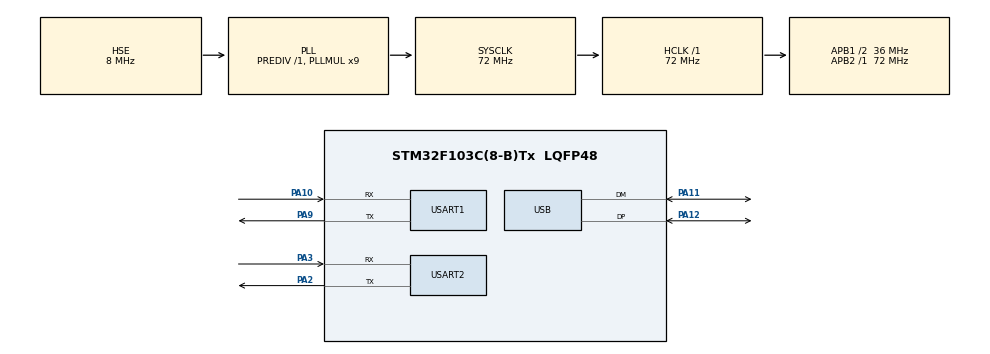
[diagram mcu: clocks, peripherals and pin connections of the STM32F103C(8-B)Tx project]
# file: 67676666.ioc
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Mcu.Family=STM32F1
Mcu.Name=STM32F103C(8-B)Tx
Mcu.Package=LQFP48
NVIC.PriorityGroup=NVIC_PRIORITYGROUP_4
NVIC.USART1_IRQn=true\:0\:0\:false\:false\:true\:true\:true\:true
NVIC.USART2_IRQn=true\:1\:0\:true\:false\:true\:true\:true\:true
NVIC.USB_LP_CAN1_RX0_IRQn=true\:0\:0\:false\:false\:true\:false\:true\:true
PA10.Mode=Asynchronous
PA10.Signal=USART1_RX
PA11.Mode=Device
PA11.Signal=USB_DM
PA12.Mode=Device
PA12.Signal=USB_DP
PA13.Mode=Serial_Wire
PA13.Signal=SYS_JTMS-SWDIO
PA14.Mode=Serial_Wire
PA14.Signal=SYS_JTCK-SWCLK
PA2.Mode=Asynchronous
PA2.Signal=USART2_TX
PA3.Mode=Asynchronous
PA3.Signal=USART2_RX
PA9.Mode=Asynchronous
PA9.Signal=USART1_TX
PC14-OSC32_IN.Mode=LSE-External-Oscillator
PC14-OSC32_IN.Signal=RCC_OSC32_IN
PC15-OSC32_OUT.Mode=LSE-External-Oscillator
PC15-OSC32_OUT.Signal=RCC_OSC32_OUT
PD0-OSC_IN.Mode=HSE-External-Oscillator
PD0-OSC_IN.Signal=RCC_OSC_IN
PD1-OSC_OUT.Mode=HSE-External-Oscillator
PD1-OSC_OUT.Signal=RCC_OSC_OUT
ProjectManager.HeapSize=0x200
ProjectManager.StackSize=0x400
ProjectManager.TargetToolchain=MDK-ARM V5.32
RCC.AHBFreq_Value=72000000
RCC.APB1CLKDivider=RCC_HCLK_DIV2
RCC.APB1Freq_Value=36000000
RCC.APB1TimFreq_Value=72000000
RCC.APB2Freq_Value=72000000
RCC.APB2TimFreq_Value=72000000
RCC.HCLKFreq_Value=72000000
RCC.PLLMUL=RCC_PLL_MUL9
RCC.SYSCLKFreq_VALUE=72000000
RCC.SYSCLKSource=RCC_SYSCLKSOURCE_PLLCLK
RCC.USBFreq_Value=48000000
RCC.USBPrescaler=RCC_USBCLKSOURCE_PLL_DIV1_5
USART1.VirtualMode=VM_ASYNC
USART2.VirtualMode=VM_ASYNC
USB_DEVICE.CLASS_NAME_FS=HID
USB_DEVICE.VirtualMode=Hid
USB_DEVICE.VirtualModeFS=Hid_FS
VP_USB_DEVICE_VS_USB_DEVICE_HID_FS.Mode=HID_FS
board=custom

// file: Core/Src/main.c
/* USER CODE BEGIN Header */
/**
  ******************************************************************************
  * @file           : main.c
  * @brief          : Main program body
  ******************************************************************************
  * @attention
  *
  * Copyright (c) 2023 STMicroelectronics.
  * All rights reserved.
  *
  * This software is licensed under terms that can be found in the LICENSE file
  * in the root directory of this software component.
  * If no LICENSE file comes with this software, it is provided AS-IS.
  *
  ******************************************************************************
  */
/* USER CODE END Header */
#include "main.h"
#include "usart.h"
#include "usb_device.h"
#include "gpio.h"

/* USER CODE BEGIN Includes */
#include "USB_KEYBOARD.h"
#include "string.h"
/* USER CODE END Includes */

/* USER CODE BEGIN PTD */
uint8_t USBD_HID_SendReport(USBD_HandleTypeDef  *pdev,uint8_t *report,uint16_t len);

extern USBD_HandleTypeDef hUsbDeviceFS;
/* USER CODE END PTD */

/* USER CODE BEGIN PV */
uint8_t USB_buff[8];
uint8_t USART1_rec = 0;
uint8_t USART1_buff_yk[20] = {0};
uint8_t USART1_buff_phb[10] = {0};

static uint8_t rx_st = 0;

/* USER CODE END PV */

void SystemClock_Config(void);

int main(void)
{

  /* MCU Configuration--------------------------------------------------------*/

  /* Reset of all peripherals, Initializes the Flash interface and the Systick. */
  HAL_Init();

  /* Configure the system clock */
  SystemClock_Config();

  /* Initialize all configured peripherals */
  MX_GPIO_Init();
  MX_USART1_UART_Init();
  MX_USB_DEVICE_Init();
  MX_USART2_UART_Init();
  /* USER CODE BEGIN 2 */
	HAL_UART_Receive_IT(&huart1,(uint8_t*)&USART1_rec,1);
	//HAL_UART_Receive_IT(&huart2,(uint8_t*)&USART2_rec,1);
  /* USER CODE END 2 */

  /* Infinite loop */
  while (1)
  {

    /* USER CODE BEGIN 3 */
		USBD_HID_SendReport(&hUsbDeviceFS,USB_buff,8);
		HAL_Delay(20);

  }
  /* USER CODE END 3 */
}

void SystemClock_Config(void)
{
  RCC_OscInitTypeDef RCC_OscInitStruct = {0};
  RCC_ClkInitTypeDef RCC_ClkInitStruct = {0};
  RCC_PeriphCLKInitTypeDef PeriphClkInit = {0};

  /** Initializes the RCC Oscillators according to the specified parameters
  * in the RCC_OscInitTypeDef structure.
  */
  RCC_OscInitStruct.OscillatorType = RCC_OSCILLATORTYPE_HSE;
  RCC_OscInitStruct.HSEState = RCC_HSE_ON;
  RCC_OscInitStruct.HSEPredivValue = RCC_HSE_PREDIV_DIV1;
  RCC_OscInitStruct.HSIState = RCC_HSI_ON;
  RCC_OscInitStruct.PLL.PLLState = RCC_PLL_ON;
  RCC_OscInitStruct.PLL.PLLSource = RCC_PLLSOURCE_HSE;
  RCC_OscInitStruct.PLL.PLLMUL = RCC_PLL_MUL9;
  if (HAL_RCC_OscConfig(&RCC_OscInitStruct) != HAL_OK)
  {
    Error_Handler();
  }

  /** Initializes the CPU, AHB and APB buses clocks
  */
  RCC_ClkInitStruct.ClockType = RCC_CLOCKTYPE_HCLK|RCC_CLOCKTYPE_SYSCLK
                              |RCC_CLOCKTYPE_PCLK1|RCC_CLOCKTYPE_PCLK2;
  RCC_ClkInitStruct.SYSCLKSource = RCC_SYSCLKSOURCE_PLLCLK;
  RCC_ClkInitStruct.AHBCLKDivider = RCC_SYSCLK_DIV1;
  RCC_ClkInitStruct.APB1CLKDivider = RCC_HCLK_DIV2;
  RCC_ClkInitStruct.APB2CLKDivider = RCC_HCLK_DIV1;

  if (HAL_RCC_ClockConfig(&RCC_ClkInitStruct, FLASH_LATENCY_2) != HAL_OK)
  {
    Error_Handler();
  }
  PeriphClkInit.PeriphClockSelection = RCC_PERIPHCLK_USB;
  PeriphClkInit.UsbClockSelection = RCC_USBCLKSOURCE_PLL_DIV1_5;
  if (HAL_RCCEx_PeriphCLKConfig(&PeriphClkInit) != HAL_OK)
  {
    Error_Handler();
  }
}

/* USER CODE BEGIN 4 */
void HAL_UART_RxCpltCallback(UART_HandleTypeDef *huart)
{
	static int cnt1 = 0,cnt2 = 0;
	if(huart->Instance == USART1)
	{
		if(rx_st == 0)
		{
			if(USART1_rec == 'Y')
				rx_st = 1;
			else if(USART1_rec == 'P')
				rx_st = 2;
		}

		if(rx_st == 2)
		{
			USART1_buff_phb[cnt2++] = USART1_rec;
			if(USART1_rec == '\n')
			{
				cnt2 = 0;
				if(USART1_buff_phb[1] == 'L')
				{
					USB_buff[4] = KB_LARROW;
					USB_buff[5] = 0x00;
				}
					else USB_buff[4] = 0x00;
				if(USART1_buff_phb[1]=='R')
				{
					USB_buff[5] = KB_RARROW;
					USB_buff[4] = 0x00;
				}
					else USB_buff[5] = 0x00;

				memset(USART1_buff_phb,0,strlen((const char*)USART1_buff_phb));
				rx_st = 0;
			}

		}

		if(rx_st == 1)
		{
			USART1_buff_yk[cnt1++] = USART1_rec;
			if(USART1_rec == '\n')
			{
				cnt1 = 0;
				if(USART1_buff_yk[8]=='1')	USB_buff[2] = KB_UARROW;
					else USB_buff[2] = 0x00;
				if(USART1_buff_yk[7]=='1')	USB_buff[3] = KB_DARROW;
					else USB_buff[3] = 0x00;

				if(USART1_buff_yk[6]=='1')
				{
					USB_buff[4] = KB_LARROW;
					USB_buff[5] = 0x00;
				}
					else USB_buff[4] = 0x00;
				if(USART1_buff_yk[5]=='1')
				{
					USB_buff[5] = KB_RARROW;
					USB_buff[4] = 0x00;
				}
					else USB_buff[5] = 0x00;

				if(USART1_buff_yk[1]=='1')	printf("GAME\n");//USB_buff[2] = KB_J;
					else USB_buff[6] = 0x00;
				if(USART1_buff_yk[2]=='1')	printf("VOICE\n");//USB_buff[3] = KB_K;
					else USB_buff[7] = 0x00;

				if(USART1_buff_yk[4]=='1')	printf("START\n");//USB_buff[6] = KB_SPACE;
					//else USB_buff[6] = 0x00;
				if(USART1_buff_yk[3]=='1')	printf("END\n");//USB_buff[7] = KB_ENTER;
					//else USB_buff[7] = 0x00;

				memset(USART1_buff_yk,0,strlen((const char*)USART1_buff_yk));

				rx_st = 0;
			}
		}

		HAL_UART_Receive_IT(&huart1,(uint8_t*)&USART1_rec,1);
	}

}
/* USER CODE END 4 */

void Error_Handler(void)
{
  __disable_irq();
  while (1)
  {
  }
}
